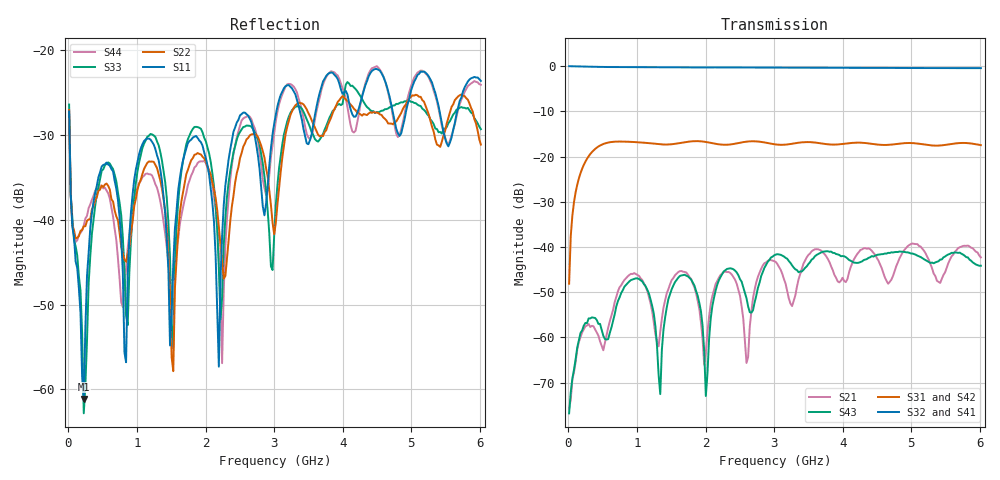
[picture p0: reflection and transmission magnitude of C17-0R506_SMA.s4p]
! MARKI MICROWAVE INC.
! Email:  support@markimicrowave.com  Phone:  408-778-4200
! Model Number:  C17-0R506  Date:  04/16
! Filename:		C17_0R506_SMA.S4P  Version: 1.0
! Description:  4-port S-parameter data for Directional Coupler C17-0R506 with SMA connectors on all ports
! Frequency Range: 	10 MHz to 6 GHz
! Port Configuration:	PORT 1: Input
!  PORT 2: Isolated
!  Port 3: Coupled
!  Port 4: Output
! S4P File: Measurements: Mag<S11> Ang<S11> Mag<S12> Ang<S12> Mag<S13> Ang<S13> Mag<S14> Ang<S14>! row 1
!  Mag<S21> Ang<S21> Mag<S22> Ang<S22> Mag<S23> Ang<S23> Mag<S24> Ang<S24>! row 2
!  Mag<S31> Ang<S31> Mag<S32> Ang<S32> Mag<S33> Ang<S33> Mag<S34> Ang<S34>! row 3
!  Mag<S41> Ang<S41> Mag<S42> Ang<S42> Mag<S43> Ang<S43> Mag<S44> Ang<S44>! row 4
# Hz S  dB  R 50
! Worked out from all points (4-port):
!   254 points, 10 MHz to 6.016 GHz, reference 50 ohm
!   strongest paths, dB at 10 MHz, 1.505 GHz, 3.025 GHz, 4.52 GHz, 6.016 GHz:
!     S32: 0.0, -0.3, -0.3, -0.4, -0.4
!     S41: 0.0, -0.3, -0.4, -0.4, -0.5
!     S31: -48.1, -17.3, -17.3, -17.4, -17.5
!     S42: -48.1, -17.4, -17.6, -17.7, -17.9
!     S43: -76.8, -49.4, -41.7, -41.7, -44.2
!     S21: -75.8, -47.3, -43.3, -43.0, -42.3
!   lowest |S11| = -61.1 dB at 223.6 MHz (marker M1), VSWR 1.00, Z = 49.9 + j0.0462 ohm
!   |S11| at or under -10 dB: start of sweep to end of sweep
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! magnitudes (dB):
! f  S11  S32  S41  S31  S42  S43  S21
! 10 MHz  -27.3  0.0  0.0  -48.1  -48.1  -76.8  -75.8
! 223.6 MHz  -61.1  -0.1  -0.1  -21.9  -21.9  -57.4  -58.2
! 579.7 MHz  -33.5  -0.2  -0.2  -16.9  -16.9  -60.4  -57.8
! 2.004 GHz  -32.7  -0.3  -0.3  -16.8  -16.9  -73.0  -63.4
! 2.194 GHz  -57.3  -0.3  -0.3  -17.3  -17.5  -47.4  -46.8
! 2.502 GHz  -27.7  -0.3  -0.3  -17.0  -17.1  -47.1  -50.8
! 6.016 GHz  -23.7  -0.4  -0.5  -17.5  -17.9  -44.2  -42.3
